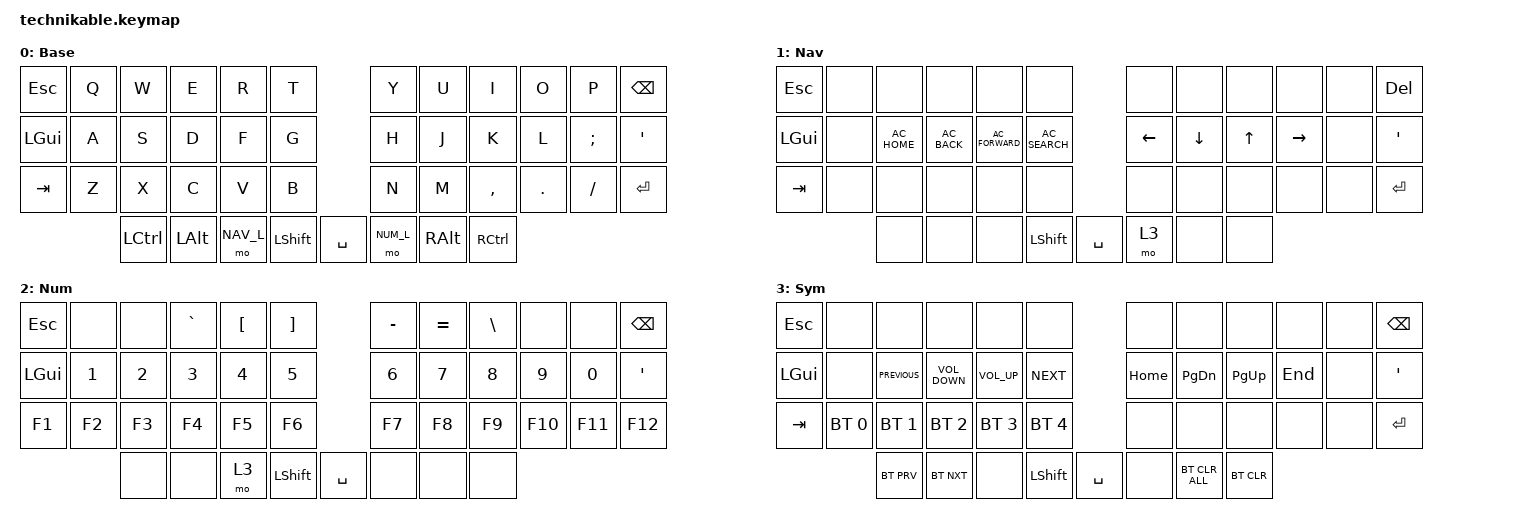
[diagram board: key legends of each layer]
/*
 * Copyright (c) 2022 Pete Johanson
 *
 * SPDX-License-Identifier: MIT
 */

#include <behaviors.dtsi>
#include <dt-bindings/zmk/bt.h>
#include <dt-bindings/zmk/keys.h>

#define BAS_L 0
#define NAV_L 1
#define NUM_L 2
#define SYM_L 3

// Using layer taps on thumbs, having quick tap as well helps w/ repeating space/backspace

&lt { quick_tap_ms = <200>; };

/ {
    chosen { zmk,matrix_transform = &ortho_transform; };

    conditional_layers { compatible = "zmk,conditional-layers"; };

    combos {
        compatible = "zmk,combos";

        layer3 {
            bindings = <&mo 3>;
            key-positions = <38 41>;
        };

        MissionControl {
            bindings = <&kp LC(UP_ARROW)>;
            key-positions = <36 37 38>;
        };

        Screenshot {
            bindings = <&kp LG(LS(N5))>;
            key-positions = <36 43 37 42>;
        };

        OnePassword {
            bindings = <&kp LG(BACKSLASH)>;
            key-positions = <36 43>;
        };
    };

    behaviors {
        new_behavior: new_behavior {
            compatible = "zmk,behavior-soft-off";
            label = "NEW_BEHAVIOR";
            #binding-cells = <0>;
            hold-time-ms = <500>;
        };
    };

    keymap {
        compatible = "zmk,keymap";

        base_layer {
            label = "Base";
            bindings = <
&kp ESC       &kp Q  &kp W      &kp E     &kp R      &kp T                      &kp Y      &kp U     &kp I      &kp O    &kp P     &kp BACKSPACE
&kp LEFT_GUI  &kp A  &kp S      &kp D     &kp F      &kp G                      &kp H      &kp J     &kp K      &kp L    &kp SEMI  &kp SINGLE_QUOTE
&kp TAB       &kp Z  &kp X      &kp C     &kp V      &kp B                      &kp N      &kp M     &kp COMMA  &kp DOT  &kp FSLH  &kp RET
                     &kp LCTRL  &kp LALT  &mo NAV_L  &kp LEFT_SHIFT  &kp SPACE  &mo NUM_L  &kp RALT  &kp RCTRL
            >;
        };

        nav_layer {
            label = "Nav";
            bindings = <
&kp ESCAPE    &none  &none          &none          &none             &none                       &none           &none     &none         &none      &none  &kp DEL
&kp LEFT_GUI  &none  &kp C_AC_HOME  &kp C_AC_BACK  &kp C_AC_FORWARD  &kp C_AC_SEARCH             &kp LEFT_ARROW  &kp DOWN  &kp UP_ARROW  &kp RIGHT  &none  &kp SINGLE_QUOTE
&kp TAB       &none  &none          &none          &none             &none                       &none           &none     &none         &none      &none  &kp ENTER
                     &none          &none          &none             &kp LEFT_SHIFT   &kp SPACE  &mo 3           &none     &none
            >;
        };

        num_layer {
            label = "Num";
            bindings = <
&kp ESCAPE  &none         &none         &kp GRAVE     &kp LEFT_BRACKET  &kp RBKT                   &kp MINUS     &kp EQUAL  &kp BACKSLASH  &none    &none    &kp BACKSPACE
&kp LGUI    &kp NUMBER_1  &kp NUMBER_2  &kp NUMBER_3  &kp NUMBER_4      &kp N5                     &kp NUMBER_6  &kp N7     &kp N8         &kp N9   &kp N0   &kp SINGLE_QUOTE
&kp F1      &kp F2        &kp F3        &kp F4        &kp F5            &kp F6                     &kp F7        &kp F8     &kp F9         &kp F10  &kp F11  &kp F12
                          &none         &none         &mo 3             &kp LEFT_SHIFT  &kp SPACE  &none         &none      &none
            >;
        };

        sym_layer {
            label = "Sym";
            bindings = <
&kp ESCAPE    &none         &none           &none              &none         &none                      &none     &none           &none        &none    &none  &kp BACKSPACE
&kp LEFT_GUI  &none         &kp C_PREVIOUS  &kp C_VOLUME_DOWN  &kp C_VOL_UP  &kp C_NEXT                 &kp HOME  &kp PAGE_DOWN   &kp PAGE_UP  &kp END  &none  &kp SQT
&kp TAB       &bt BT_SEL 0  &bt BT_SEL 1    &bt BT_SEL 2       &bt BT_SEL 3  &bt BT_SEL 4               &none     &none           &none        &none    &none  &kp RETURN
                            &bt BT_PRV      &bt BT_NXT         &none         &kp LEFT_SHIFT  &kp SPACE  &none     &bt BT_CLR_ALL  &bt BT_CLR
            >;
        };
    };
};
